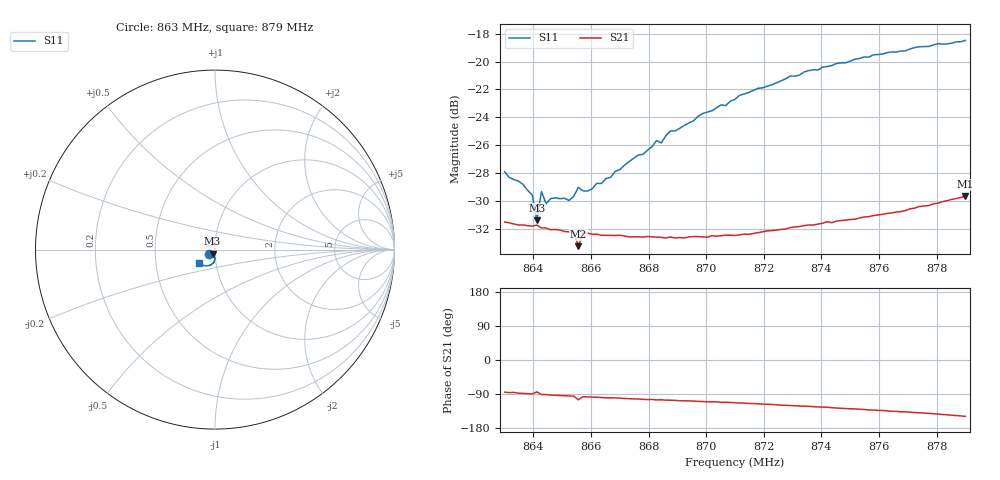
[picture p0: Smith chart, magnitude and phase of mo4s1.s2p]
# HZ S RI R 50
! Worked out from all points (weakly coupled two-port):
!   101 points, 863 MHz to 879 MHz, reference 50 ohm
!   highest |S21| = -29.66 dB at 879 MHz (marker M1); lowest = -33.2 dB at 865.56 MHz (marker M2)
!   lowest |S11| = -31.4 dB at 864.12 MHz (marker M3), VSWR 1.06, Z = 48.6 - j2.26 ohm
!   |S11| at or under -10 dB: start of sweep to end of sweep
!   S12 and S22 are empty: the file has one direction only
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8.63e8  -0.0317 -0.0249  0.00233 -0.0265  0 0  0 0
8.6316e8  -0.0292 -0.025  0.00183 -0.0264  0 0  0 0
8.6364e8  -0.0252 -0.0261  0.000891 -0.026  0 0  0 0
8.6396e8  -0.0214 -0.0255  0.00012 -0.0257  0 0  0 0
8.6412e8  -0.0138 -0.0232  0.00266 -0.0258  0 0  0 0
8.6428e8  -0.0195 -0.0281  -0.000506 -0.0253  0 0  0 0
8.6444e8  -0.0173 -0.0256  -0.000609 -0.0253  0 0  0 0
8.646e8  -0.0167 -0.0276  -0.001 -0.0249  0 0  0 0
8.6524e8  -0.011 -0.0298  -0.00207 -0.0244  0 0  0 0
8.654e8  -0.0105 -0.0312  -0.00233 -0.0244  0 0  0 0
8.6556e8  -0.0118 -0.0334  -0.00561 -0.0211  0 0  0 0
8.6572e8  -0.00833 -0.0334  -0.0029 -0.0242  0 0  0 0
8.6668e8  -0.00463 -0.0382  -0.00403 -0.0235  0 0  0 0
8.6684e8  -0.0044 -0.0402  -0.00415 -0.0234  0 0  0 0
8.678e8  -0.00135 -0.0465  -0.00555 -0.0228  0 0  0 0
8.6828e8  -0.00114 -0.0521  -0.00617 -0.0226  0 0  0 0
8.6844e8  -0.00219 -0.051  -0.00606 -0.0226  0 0  0 0
8.6876e8  -0.000997 -0.0564  -0.00654 -0.0226  0 0  0 0
8.71e8  -0.00907 -0.0726  -0.00925 -0.0219  0 0  0 0
8.7372e8  -0.0305 -0.0883  -0.0142 -0.0217  0 0  0 0
8.7644e8  -0.0619 -0.0888  -0.0204 -0.0202  0 0  0 0
8.79e8  -0.0912 -0.0765  -0.0281 -0.0171  0 0  0 0
